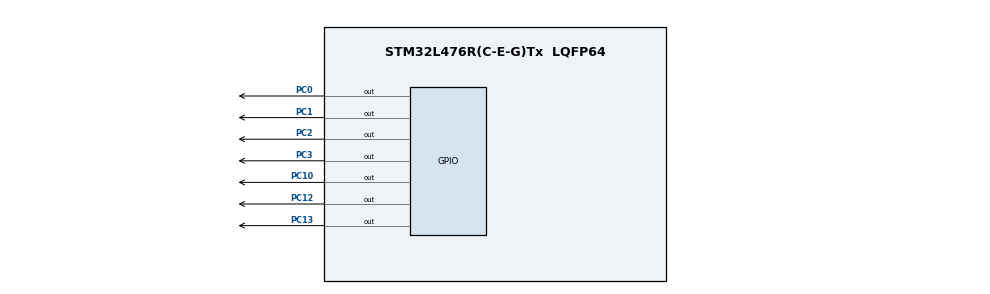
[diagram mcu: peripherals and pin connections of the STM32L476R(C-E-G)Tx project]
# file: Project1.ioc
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Mcu.Family=STM32L4
Mcu.Name=STM32L476R(C-E-G)Tx
Mcu.Package=LQFP64
NVIC.PriorityGroup=NVIC_PRIORITYGROUP_4
PC0.Signal=GPIO_Output
PC1.Signal=GPIO_Output
PC10.Signal=GPIO_Output
PC12.Signal=GPIO_Output
PC13.GPIO_ModeDefaultOutputPP=GPIO_MODE_OUTPUT_OD
PC13.GPIO_PuPd=GPIO_NOPULL
PC13.Signal=GPIO_Output
PC2.Signal=GPIO_Output
PC3.Signal=GPIO_Output
ProjectManager.HeapSize=0x200
ProjectManager.StackSize=0x400
ProjectManager.TargetToolchain=STM32CubeIDE
RCC.HSE_VALUE=8000000
RCC.HSI_VALUE=16000000
RCC.LSE_VALUE=32768
RCC.MSI_VALUE=4000000
RCC.VCOOutputFreq_Value=32000000
board=custom

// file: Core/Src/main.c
/* USER CODE BEGIN Header */
/**
  ******************************************************************************
  * @file           : main.c
  * @brief          : Main program body
  ******************************************************************************
  * @attention
  *
  * Copyright (c) 2022 STMicroelectronics.
  * All rights reserved.
  *
  * This software is licensed under terms that can be found in the LICENSE file
  * in the root directory of this software component.
  * If no LICENSE file comes with this software, it is provided AS-IS.
  *
  ******************************************************************************
  */
/* USER CODE END Header */
#include "main.h"

/* USER CODE BEGIN PD */
  static void rstDiodes(void);
/* USER CODE END PD */

/* USER CODE BEGIN PM */
#define NO_OF_DIODES 6
/* USER CODE END PM */

/* USER CODE BEGIN PV */
  static unsigned char diodeCounter = 0;
/* USER CODE END PV */

void SystemClock_Config(void);
static void MX_GPIO_Init(void);

int main(void)
{

  /* MCU Configuration--------------------------------------------------------*/

  /* Reset of all peripherals, Initializes the Flash interface and the Systick. */
  HAL_Init();

  /* Configure the system clock */
  SystemClock_Config();

  /* Initialize all configured peripherals */
  MX_GPIO_Init();
  /* USER CODE BEGIN 2 */
  diodeCounter = NO_OF_DIODES-1;
  /* USER CODE END 2 */

  /* Infinite loop */
  /* USER CODE BEGIN WHILE */
  while (1)
  {
	  HAL_GPIO_TogglePin(GPIOC, GPIO_PIN_13);
	  HAL_Delay(500);
	  if(diodeCounter < NO_OF_DIODES-1)
	  {
		  diodeCounter++;
	  }
	  else
	  {
		  diodeCounter = 0;
	  }
	  rstDiodes();
	  switch(diodeCounter)
	  {
	  case 0:	HAL_GPIO_WritePin(GPIOC, GPIO_PIN_10, GPIO_PIN_SET);
		  	  break;
	  case 1:	HAL_GPIO_WritePin(GPIOC, GPIO_PIN_12, GPIO_PIN_SET);
	  		  break;
	  case 2:	HAL_GPIO_WritePin(GPIOC, GPIO_PIN_1, GPIO_PIN_SET);
	  		  break;
	  case 3:	HAL_GPIO_WritePin(GPIOC, GPIO_PIN_0, GPIO_PIN_SET);
	  		  break;
	  case 4:	HAL_GPIO_WritePin(GPIOC, GPIO_PIN_2, GPIO_PIN_SET);
	  		  break;
	  case 5:	HAL_GPIO_WritePin(GPIOC, GPIO_PIN_3, GPIO_PIN_SET);
	  		  break;
	  default: break;
	  }

    /* USER CODE END WHILE */

  }
}

void SystemClock_Config(void)
{
  RCC_OscInitTypeDef RCC_OscInitStruct = {0};
  RCC_ClkInitTypeDef RCC_ClkInitStruct = {0};

  /** Configure the main internal regulator output voltage
  */
  if (HAL_PWREx_ControlVoltageScaling(PWR_REGULATOR_VOLTAGE_SCALE1) != HAL_OK)
  {
    Error_Handler();
  }

  /** Initializes the RCC Oscillators according to the specified parameters
  * in the RCC_OscInitTypeDef structure.
  */
  RCC_OscInitStruct.OscillatorType = RCC_OSCILLATORTYPE_MSI;
  RCC_OscInitStruct.MSIState = RCC_MSI_ON;
  RCC_OscInitStruct.MSICalibrationValue = 0;
  RCC_OscInitStruct.MSIClockRange = RCC_MSIRANGE_6;
  RCC_OscInitStruct.PLL.PLLState = RCC_PLL_NONE;
  if (HAL_RCC_OscConfig(&RCC_OscInitStruct) != HAL_OK)
  {
    Error_Handler();
  }

  /** Initializes the CPU, AHB and APB buses clocks
  */
  RCC_ClkInitStruct.ClockType = RCC_CLOCKTYPE_HCLK|RCC_CLOCKTYPE_SYSCLK
                              |RCC_CLOCKTYPE_PCLK1|RCC_CLOCKTYPE_PCLK2;
  RCC_ClkInitStruct.SYSCLKSource = RCC_SYSCLKSOURCE_MSI;
  RCC_ClkInitStruct.AHBCLKDivider = RCC_SYSCLK_DIV1;
  RCC_ClkInitStruct.APB1CLKDivider = RCC_HCLK_DIV1;
  RCC_ClkInitStruct.APB2CLKDivider = RCC_HCLK_DIV1;

  if (HAL_RCC_ClockConfig(&RCC_ClkInitStruct, FLASH_LATENCY_0) != HAL_OK)
  {
    Error_Handler();
  }
}

static void MX_GPIO_Init(void)
{
  GPIO_InitTypeDef GPIO_InitStruct = {0};

  /* GPIO Ports Clock Enable */
  __HAL_RCC_GPIOC_CLK_ENABLE();

  /*Configure GPIO pin Output Level */
  HAL_GPIO_WritePin(GPIOC, GPIO_PIN_13|GPIO_PIN_0|GPIO_PIN_1|GPIO_PIN_2
                          |GPIO_PIN_3|GPIO_PIN_10|GPIO_PIN_12, GPIO_PIN_RESET);

  /*Configure GPIO pin : PC13 */
  GPIO_InitStruct.Pin = GPIO_PIN_13;
  GPIO_InitStruct.Mode = GPIO_MODE_OUTPUT_OD;
  GPIO_InitStruct.Pull = GPIO_NOPULL;
  GPIO_InitStruct.Speed = GPIO_SPEED_FREQ_LOW;
  HAL_GPIO_Init(GPIOC, &GPIO_InitStruct);

  /*Configure GPIO pins : PC0 PC1 PC2 PC3
                           PC10 PC12 */
  GPIO_InitStruct.Pin = GPIO_PIN_0|GPIO_PIN_1|GPIO_PIN_2|GPIO_PIN_3
                          |GPIO_PIN_10|GPIO_PIN_12;
  GPIO_InitStruct.Mode = GPIO_MODE_OUTPUT_PP;
  GPIO_InitStruct.Pull = GPIO_NOPULL;
  GPIO_InitStruct.Speed = GPIO_SPEED_FREQ_LOW;
  HAL_GPIO_Init(GPIOC, &GPIO_InitStruct);

}

/* USER CODE BEGIN 4 */
static void rstDiodes(void)
{
	HAL_GPIO_WritePin(GPIOC, GPIO_PIN_0|GPIO_PIN_1|GPIO_PIN_2|GPIO_PIN_3
	                          |GPIO_PIN_10|GPIO_PIN_12, GPIO_PIN_RESET);
}

/* USER CODE END 4 */

void Error_Handler(void)
{
  __disable_irq();
  while (1)
  {
  }
}
